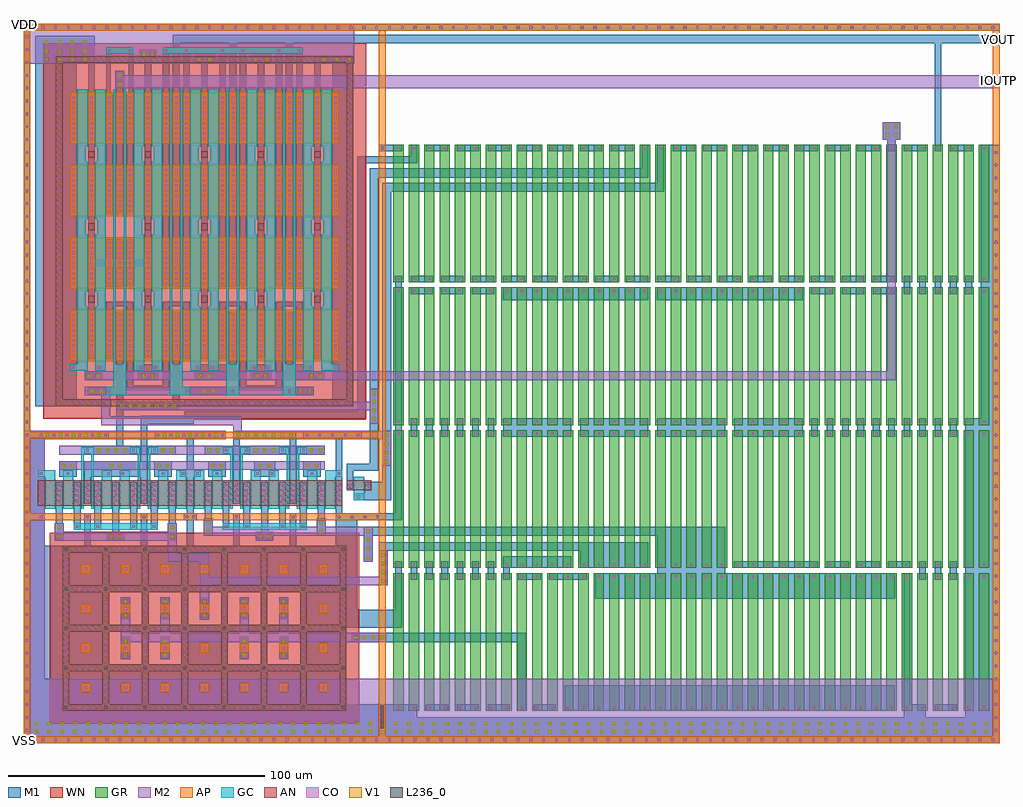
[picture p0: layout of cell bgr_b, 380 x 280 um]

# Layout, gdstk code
from math import pi, radians
import gdstk
lib = gdstk.Library(unit=1e-6, precision=1e-07)
def R(c, l, rs):  # rectangles x0, y0, x1, y1
    for r in rs: c.add(gdstk.rectangle(r[:2], r[2:], *l))
def A(c, l, x, y, w, h, nx, ny, dx, dy):  # array of equal rectangles
    R(c, l, [(x+i*dx, y+j*dy, x+i*dx+w, y+j*dy+h) for i in range(nx) for j in range(ny)])
def P(c, l, *ps):  # polygons
    for p in ps: c.add(gdstk.Polygon(p, *l))
AP = (3, 1)
AN = (3, 2)
GC = (8, 1)
GR = (8, 2)
CO = (11, 0)
M1 = (13, 0)
V1 = (19, 0)
M2 = (20, 0)
WN = (140, 0)
L236_0 = (236, 0)

via_1 = lib.new_cell('via_1')
R(via_1, M1, [(-1.7,-1.7,1.7,1.7)])
R(via_1, V1, [(-0.7,-0.7,0.7,0.7)])
R(via_1, M2, [(-1.7,-1.7,1.7,1.7)])

res_poly = lib.new_cell('res_poly')
R(res_poly, GR, [(-26.8,-2,26.8,2)])
R(res_poly, CO, [(-26,-0.5,-25,0.5), (25,-0.5,26,0.5)])
R(res_poly, M1, [(-26.8,-1.3,-24.2,1.3), (24.2,-1.3,26.8,1.3)])

cont_p_1 = lib.new_cell('cont_p$1')
R(cont_p_1, AP, [(-1.3,-1.3,1.3,1.3)])
R(cont_p_1, CO, [(-0.5,-0.5,0.5,0.5)])
R(cont_p_1, M1, [(-1.3,-1.3,1.3,1.3)])

cont_n_1_1 = lib.new_cell('cont_n$1$1')
R(cont_n_1_1, AN, [(-1.3,-1.3,1.3,1.3)])
R(cont_n_1_1, CO, [(-0.5,-0.5,0.5,0.5)])
R(cont_n_1_1, M1, [(-1.3,-1.3,1.3,1.3)])

fet_p_1 = lib.new_cell('fet_p$1')
R(fet_p_1, AP, [(-4.8,-10,4.8,10)])
A(fet_p_1, CO, -4, -8.5, 1, 1, 1, 9, 0, 2)
A(fet_p_1, CO, 3, -8.5, 1, 1, 1, 9, 0, 2)
R(fet_p_1, M1, [(-4.8,-9.3,-2.2,9.3), (2.2,-9.3,4.8,9.3)])
fet_p_1.add(gdstk.FlexPath([(0,-11.2),(0,11.2)], 4, ends="flush", simple_path=True, layer=8, datatype=1))  # GC

fet_p_3 = lib.new_cell('fet_p$3')
R(fet_p_3, AP, [(-3.3,-10,3.3,10)])
A(fet_p_3, CO, -2.5, -8.5, 1, 1, 1, 9, 0, 2)
A(fet_p_3, CO, 1.5, -8.5, 1, 1, 1, 9, 0, 2)
R(fet_p_3, M1, [(-3.3,-9.3,-0.7,9.3), (0.7,-9.3,3.3,9.3)])
fet_p_3.add(gdstk.FlexPath([(0,-11.2),(0,11.2)], 1, ends="flush", simple_path=True, layer=8, datatype=1))  # GC

cont_g_1 = lib.new_cell('cont_g$1')
R(cont_g_1, GC, [(-1.3,-1.3,1.3,1.3)])
R(cont_g_1, CO, [(-0.5,-0.5,0.5,0.5)])
R(cont_g_1, M1, [(-1.3,-1.3,1.3,1.3)])

fet_n_1 = lib.new_cell('fet_n$1')
R(fet_n_1, AN, [(-4.8,-5,4.8,5)])
A(fet_n_1, CO, -4, -3.5, 1, 1, 1, 4, 0, 2)
A(fet_n_1, CO, 3, -3.5, 1, 1, 1, 4, 0, 2)
R(fet_n_1, M1, [(-4.8,-4.3,-2.2,4.3), (2.2,-4.3,4.8,4.3)])
fet_n_1.add(gdstk.FlexPath([(0,-6.2),(0,6.2)], 4, ends="flush", simple_path=True, layer=8, datatype=1))  # GC

fet_n_3 = lib.new_cell('fet_n$3')
R(fet_n_3, AN, [(-3.3,-5,3.3,5)])
A(fet_n_3, CO, -2.5, -3.5, 1, 1, 1, 4, 0, 2)
A(fet_n_3, CO, 1.5, -3.5, 1, 1, 1, 4, 0, 2)
R(fet_n_3, M1, [(-3.3,-4.3,-0.7,4.3), (0.7,-4.3,3.3,4.3)])
fet_n_3.add(gdstk.FlexPath([(0,-6.2),(0,6.2)], 1, ends="flush", simple_path=True, layer=8, datatype=1))  # GC

cont_n_2 = lib.new_cell('cont_n$2')
R(cont_n_2, AN, [(-1.3,-1.3,1.3,1.3)])
R(cont_n_2, CO, [(-0.5,-0.5,0.5,0.5)])
R(cont_n_2, M1, [(-1.3,-1.3,1.3,1.3)])

diode_p_1 = lib.new_cell('diode_p$1')
R(diode_p_1, AP, [(-1.8,-1.8,1.8,1.8)])
R(diode_p_1, CO, [(-0.6,-0.6,0.6,0.6)])
R(diode_p_1, M1, [(-1.8,-1.8,1.8,1.8)])

dp_1 = lib.new_cell('dp$1')
P(dp_1, AN, [(-9,-9),(-9,-3.9),(-6.4,-3.9),(-6.4,-6.4),(-3.9,-6.4),(-3.9,-9)],
  [(3.9,-9),(3.9,-6.4),(6.4,-6.4),(6.4,-3.9),(9,-3.9),(9,-9)],
  [(-9,3.9),(-9,9),(-3.9,9),(-3.9,6.4),(-6.4,6.4),(-6.4,3.9)],
  [(6.4,3.9),(6.4,6.4),(3.9,6.4),(3.9,9),(9,9),(9,3.9)])
P(dp_1, M1, [(-9,-9),(-9,-3.9),(-6.4,-3.9),(-6.4,-6.4),(-3.9,-6.4),(-3.9,-9)],
  [(3.9,-9),(3.9,-6.4),(6.4,-6.4),(6.4,-3.9),(9,-3.9),(9,-9)],
  [(-9,3.9),(-9,9),(-3.9,9),(-3.9,6.4),(-6.4,6.4),(-6.4,3.9)],
  [(6.4,3.9),(6.4,6.4),(3.9,6.4),(3.9,9),(9,9),(9,3.9)])
R(dp_1, WN, [(-14,-14,14,14)])
r = gdstk.Reference(cont_n_2, (-7.7,-2.6)); r.repetition = gdstk.Repetition(1, 3, v1=(0,0), v2=(0,2.6)); dp_1.add(r)
r = gdstk.Reference(cont_n_2, (7.7,-2.6)); r.repetition = gdstk.Repetition(1, 3, v1=(0,0), v2=(0,2.6)); dp_1.add(r)
r = gdstk.Reference(cont_n_2, (-2.6,-7.7)); r.repetition = gdstk.Repetition(3, 1, v1=(2.6,0), v2=(0,0)); dp_1.add(r)
r = gdstk.Reference(cont_n_2, (-2.6,7.7)); r.repetition = gdstk.Repetition(3, 1, v1=(2.6,0), v2=(0,0)); dp_1.add(r)
dp_1.add(gdstk.Reference(diode_p_1, (0,0)))
dp_1.add(gdstk.Label('PLUS', (0,0), layer=48, texttype=0))
dp_1.add(gdstk.Label('MINUS', (0,-6.7), layer=48, texttype=0))

fet_n_2_1 = lib.new_cell('fet_n$2$1')
R(fet_n_2_1, AN, [(-4.8,-2,4.8,2)])
R(fet_n_2_1, CO, [(-4,-0.5,-3,0.5), (3,-0.5,4,0.5)])
R(fet_n_2_1, M1, [(-4.8,-1.3,-2.2,1.3), (2.2,-1.3,4.8,1.3)])
fet_n_2_1.add(gdstk.FlexPath([(0,-3.2),(0,3.2)], 4, ends="flush", simple_path=True, layer=8, datatype=1))  # GC

bgr_b = lib.new_cell('bgr_b')
P(bgr_b, AP, [(0,0),(0,277.4),(2.6,277.4),(2.6,2.6),(138.4,2.6),(138.4,86.8),(2.6,86.8),(2.6,89.4),(138.4,89.4),(138.4,118.6),(2.6,118.6),(2.6,121.2),(138.4,121.2),(138.4,277.4),(141,277.4),(141,2.6),(377.4,2.6),(377.4,277.4),(0,277.4),(0,280),(380,280),(380,0)])
P(bgr_b, AN, [(12.6,131.2),(12.6,264.8),(15.2,264.8),(15.2,133.8),(125.8,133.8),(125.8,264.8),(12.6,264.8),(12.6,267.4),(128.4,267.4),(128.4,131.2)])
A(bgr_b, GC, 52.4, 103.6, 4, 2.6, 4, 1, 7, 0)
R(bgr_b, GC, [(19.6,83,52.2,85.6), (77.6,83,110.2,85.6), (128.6,94.6,132.6,97.2), (5.6,103.6,12.4,106.2), (15.4,103.6,19.4,106.2), (30.4,103.6,34.4,106.2), (37.4,103.6,41.4,106.2), (88.4,103.6,92.4,106.2), (95.4,103.6,99.4,106.2), (110.4,103.6,114.4,106.2), (117.4,103.6,124.2,106.2), (18.2,144.9,25,147.5), (28,144.9,32,147.5), (43,144.9,47,147.5), (50,144.9,54,147.5), (65,144.9,69,147.5), (72,144.9,76,147.5), (87,144.9,91,147.5), (94,144.9,98,147.5), (109,144.9,113,147.5), (109,144.9,113,147.5), (116,144.9,122.8,147.5), (21,169.9,24.2,232.1), (28.8,169.9,32,232.1), (43,169.9,46.2,232.1), (50.8,169.9,54,232.1), (65,169.9,68.2,232.1), (72.8,169.9,76,232.1), (87,169.9,90.2,232.1), (94.8,169.9,98,232.1), (109,169.9,112.2,232.1), (116.8,169.9,120,232.1), (32.2,268.3,42.8,270.9), (54.2,268.3,108.8,270.9)])
P(bgr_b, GC, [(32,135.4),(32,138.8),(35,138.8),(35,232.1),(36,232.1),(36,147.5),(39,147.5),(39,232.1),(40,232.1),(40,135.4)],
  [(57,135.4),(57,232.1),(58,232.1),(58,147.5),(61,147.5),(61,232.1),(62,232.1),(62,138.8),(65,138.8),(65,135.4)],
  [(79,135.4),(79,232.1),(80,232.1),(80,147.5),(83,147.5),(83,232.1),(84,232.1),(84,135.4)],
  [(101,135.4),(101,232.1),(102,232.1),(102,147.5),(105,147.5),(105,232.1),(106,232.1),(106,135.4)],
  [(22.4,103.6),(22.4,115.3),(27.4,115.3),(27.4,103.6),(26.4,103.6),(26.4,112.7),(23.4,112.7),(23.4,103.6)],
  [(48.4,103.6),(48.4,115.3),(52.3,115.3),(52.3,112.7),(49.4,112.7),(49.4,103.6)],
  [(44.4,103.6),(44.4,112.7),(41.5,112.7),(41.5,115.3),(45.4,115.3),(45.4,103.6)],
  [(84.4,103.6),(84.4,115.3),(88.3,115.3),(88.3,112.7),(85.4,112.7),(85.4,103.6)],
  [(80.4,103.6),(80.4,112.7),(77.5,112.7),(77.5,115.3),(81.4,115.3),(81.4,103.6)],
  [(106.4,103.6),(106.4,115.3),(110.3,115.3),(110.3,112.7),(107.4,112.7),(107.4,103.6)],
  [(102.4,103.6),(102.4,112.7),(99.5,112.7),(99.5,115.3),(103.4,115.3),(103.4,103.6)])
A(bgr_b, M1, 159.3, 12.6, 3.4, 2.6, 3, 1, 12, 0)
A(bgr_b, M1, 37.9, 48, 3.6, 8.8, 5, 1, 15.4, 0)
A(bgr_b, M1, 150.7, 66.2, 2.6, 2, 6, 2, 6, 55.6)
A(bgr_b, M1, 348.7, 66.2, 2.6, 2, 3, 1, 6, 0)
A(bgr_b, M1, 315.3, 68.2, 3.4, 2.6, 3, 1, 12, 0)
A(bgr_b, M1, 12.6, 78.8, 2.6, 14.3, 3, 1, 22, 0)
A(bgr_b, M1, 186.7, 119.2, 26.6, 7.2, 4, 1, 30, 0)
A(bgr_b, M1, 306.7, 121.8, 2.6, 2, 10, 1, 6, 0)
A(bgr_b, M1, 153.3, 174.8, 3.4, 2.6, 3, 1, 12, 0)
A(bgr_b, M1, 309.3, 174.8, 3.4, 2.6, 3, 1, 12, 0)
A(bgr_b, M1, 342.7, 177.4, 2.6, 2, 5, 1, 6, 0)
A(bgr_b, M1, 153.3, 179.4, 3.4, 2.6, 16, 1, 12, 0)
A(bgr_b, M1, 159.3, 230.4, 3.4, 2.6, 7, 1, 12, 0)
A(bgr_b, M1, 255.3, 230.4, 3.4, 2.6, 7, 1, 12, 0)
R(bgr_b, M1, [(201.3,12.6,204.7,15.2), (210.7,12.6,339.3,22.6), (357.3,12.6,360.7,15.2), (37.9,32.6,41.5,41.4), (53.3,32.6,56.9,41.4), (84.1,32.6,87.7,41.4), (99.5,32.6,103.1,41.4), (195.3,63.6,198.7,66.2), (207.3,63.6,216.7,66.2), (279.3,68.2,306.7,70.8), (23.6,76.8,26.2,86.8), (45.6,76.8,48.2,86.8), (63.6,76.8,66.2,121.6), (81.6,76.8,84.2,86.8), (103.6,76.8,106.2,86.8), (92.6,78.8,95.2,93.1), (70.6,80.8,73.2,93.1), (114.6,80.8,117.2,93.1), (19.6,83,22.2,93.1), (27.6,83,30.2,93.1), (41.6,83,44.2,93.1), (49.6,83,52.2,93.1), (77.6,83,80.2,93.1), (85.6,83,88.2,93.1), (99.6,83,102.2,93.1), (107.6,83,110.2,93.1), (14,103.6,20.8,109.8), (51,103.6,57.8,109.8), (63.4,103.6,66.4,106.2), (63.4,103.6,66.4,106.2), (72,103.6,78.8,109.8), (89.8,103.6,98,109.8), (109,103.6,115.8,109.8), (23.6,112.3,44.1,115.7), (36.2,112.3,38.8,149.4), (49.7,112.3,59.3,115.7), (70.5,112.3,80.1,115.7), (85.7,112.3,102.1,115.7), (107.7,112.3,117.3,115.7), (5.6,118.2,33.2,121.6), (51.1,118.2,78.7,121.6), (58.2,129.5,60.8,149.4), (25,135.4,34.6,138.8), (62.4,135.4,82.8,138.8), (102.2,135.4,113,138.8), (28,141.3,30.6,147.5), (44.4,141.3,52.6,147.5), (88.4,141.3,96.6,147.5), (25.2,168,27.8,267.4), (47.2,168,49.8,267.4), (69.2,168,71.8,267.8), (91.2,168,93.8,267.8), (113.2,168,115.8,267.4), (186.7,172.4,243.3,177.4), (246.7,172.4,303.3,177.4), (27.8,185.6,47.2,188.2), (54.2,196.2,56.8,270.9), (62.2,196.2,64.8,270.9), (76.2,196.2,78.8,270.9), (84.2,196.2,86.8,270.9), (98.2,196.2,100.8,270.9), (106.2,196.2,108.8,270.9), (32.2,224.4,34.8,252.6), (36.2,224.4,38.8,261.8), (40.2,224.4,42.8,252.6), (141,230.4,144.7,233), (345.3,230.4,348.7,233), (363.3,230.4,366.7,233), (336.3,233,339.7,238.4)])
P(bgr_b, M1, [(192.3,12.6),(192.3,39.3),(127.7,39.3),(127.7,42.9),(195.7,42.9),(195.7,12.6)],
  [(0,0),(0,58.8),(33.3,58.8),(33.3,30.6),(61.5,30.6),(61.5,46),(79.5,46),(79.5,30.6),(107.7,30.6),(107.7,58.8),(0,58.8),(0,280),(380,280),(380,277.4),(2.6,277.4),(2.6,121.6),(8.2,121.6),(8.2,76.8),(121.6,76.8),(121.6,89.4),(144.7,89.4),(144.7,182),(147.3,182),(147.3,86.8),(130,86.8),(130,52),(144.7,52),(144.7,70.8),(147.3,70.8),(147.3,45),(125.7,45),(125.7,15.2),(153.3,15.2),(153.3,10),(342.7,10),(342.7,63.6),(345.3,63.6),(345.3,15.2),(351.3,15.2),(351.3,10),(366.7,10),(366.7,126.4),(372.7,126.4),(372.7,233),(380,233),(380,0)],
  [(186.7,66.2),(186.7,72.8),(213.3,72.8),(213.3,68.2),(189.3,68.2),(189.3,66.2)],
  [(216.7,68.2),(216.7,74.8),(138.4,74.8),(138.4,78.2),(243.3,78.2),(243.3,68.2)],
  [(222.7,56.2),(222.7,66.2),(246.7,66.2),(246.7,80.8),(132.5,80.8),(132.5,84.2),(273.3,84.2),(273.3,66.2),(339.3,66.2),(339.3,56.2)],
  [(4.6,131.2),(4.6,275.4),(27.8,275.4),(27.8,264.4),(20.8,264.4),(20.8,133.8),(34.2,133.8),(34.2,131.2)],
  [(58.2,196.2),(58.2,275.8),(380,275.8),(380,272.4),(357.3,272.4),(357.3,233),(354.7,233),(354.7,272.4),(104.8,272.4),(104.8,196.2),(102.2,196.2),(102.2,272.4),(82.8,272.4),(82.8,196.2),(80.2,196.2),(80.2,272.4),(60.8,272.4),(60.8,196.2)],
  [(62.8,131.2),(62.8,133.8),(120.2,133.8),(120.2,264.8),(113.2,264.8),(113.2,267.4),(128.4,267.4),(128.4,131.2)],
  [(131.9,94.6),(131.9,97.2),(132.8,97.2),(132.8,101.7),(139.7,101.7),(139.7,218.2),(246.7,218.2),(246.7,230.4),(249.3,230.4),(249.3,214.6),(143.1,214.6),(143.1,94.6)],
  [(40.2,250),(40.2,252.6),(41,252.6),(41,270.9),(42.8,270.9),(42.8,250)],
  [(32.2,250),(32.2,270.9),(34,270.9),(34,252.6),(34.8,252.6),(34.8,250)],
  [(66.4,141.3),(66.4,147.5),(80.2,147.5),(80.2,149.4),(82.8,149.4),(82.8,141.3)],
  [(40.2,137.3),(40.2,170),(34.8,170),(34.8,168),(32.2,168),(32.2,171.8),(42.8,171.8),(42.8,139.3),(54.2,139.3),(54.2,171.8),(64.8,171.8),(64.8,168),(62.2,168),(62.2,170),(56.8,170),(56.8,137.3)],
  [(84.2,137.3),(84.2,170),(78.8,170),(78.8,168),(76.2,168),(76.2,171.8),(86.8,171.8),(86.8,139.3),(98.2,139.3),(98.2,171.8),(108.8,171.8),(108.8,168),(106.2,168),(106.2,170),(100.8,170),(100.8,137.3)],
  [(102.2,141.3),(102.2,149.4),(104.8,149.4),(104.8,147.5),(113,147.5),(113,141.3)],
  [(23.6,101.7),(23.6,109.8),(45.6,109.8),(45.6,127.5),(62.8,127.5),(62.8,129.2),(129.9,129.2),(129.9,228.4),(150.7,228.4),(150.7,230.4),(153.3,230.4),(153.3,225.8),(133.3,225.8),(133.3,125.8),(66.2,125.8),(66.2,124.1),(48.2,124.1),(48.2,101.7),(45.6,101.7),(45.6,103.6),(26.2,103.6),(26.2,101.7)],
  [(81.6,101.7),(81.6,121.6),(106.2,121.6),(106.2,101.7),(103.6,101.7),(103.6,118.2),(84.2,118.2),(84.2,101.7)],
  [(121.6,89.4),(121.6,118.6),(109,118.6),(109,121.2),(131.6,121.2),(131.6,118.6),(124.2,118.6),(124.2,89.4)],
  [(125.8,101.7),(125.8,108.7),(134.8,108.7),(134.8,223.8),(240.7,223.8),(240.7,230.4),(243.3,230.4),(243.3,220.2),(138.2,220.2),(138.2,106.1),(128.4,106.1),(128.4,101.7)])
R(bgr_b, M2, [(37.9,32.6,41.5,41.4), (53.3,32.6,56.9,41.4), (84.1,32.6,87.7,41.4), (37.9,48,41.5,56.8), (53.3,48,56.9,56.8), (84.1,48,87.7,56.8), (99.5,48,103.1,56.8), (73.6,80.8,135.9,84.2), (14,106.4,117.3,109.8), (14,112.3,117.3,115.7), (36.2,129.5,138.2,132.9), (23.8,141.3,339.7,144.7), (336.3,141.3,339.7,238.4), (35.8,255,380,260), (0,264.4,128.7,280)])
P(bgr_b, M2, [(99.5,32.6),(99.5,39.3),(37.9,39.3),(37.9,48),(41.5,48),(41.5,42.9),(53.3,42.9),(53.3,48),(56.9,48),(56.9,42.9),(84.1,42.9),(84.1,48),(87.7,48),(87.7,42.9),(99.5,42.9),(99.5,48),(103.1,48),(103.1,42.9),(141.3,42.9),(141.3,39.3),(103.1,39.3),(103.1,32.6)],
  [(68.7,48),(68.7,70.6),(56.2,70.6),(56.2,78.8),(15.6,78.8),(15.6,82.2),(59.6,82.2),(59.6,74),(72.3,74),(72.3,64.8),(141.8,64.8),(141.8,61.4),(72.3,61.4),(72.3,48)],
  [(0,0),(0,121.6),(78.7,121.6),(78.7,118.2),(8.2,118.2),(8.2,25),(380,25),(380,0)],
  [(81.6,118.2),(81.6,123.8),(30.3,123.8),(30.3,135.4),(23.8,135.4),(23.8,138.8),(113,138.8),(113,135.4),(33.7,135.4),(33.7,127.2),(85,127.2),(85,121.6),(143.1,121.6),(143.1,118.2)])
R(bgr_b, WN, [(7.6,126.2,133.4,272.4)])
A(bgr_b, L236_0, 16, 13.3, 1.2, 1.2, 8, 5, 15.4, 15.4)
R(bgr_b, L236_0, [(139.1,5.8,140.3,14.5)])
r = gdstk.Reference(via_1, (5,4.3)); r.repetition = gdstk.Repetition(75, 2, v1=(5,0), v2=(0,3.4)); bgr_b.add(r)
r = gdstk.Reference(res_poly, (146,206.2), rotation=3*pi/2); r.repetition = gdstk.Repetition(4, 39, v1=(0,-55.6), v2=(6,0)); bgr_b.add(r)
r = gdstk.Reference(cont_p_1, (2.5,1.3)); r.repetition = gdstk.Repetition(76, 1, v1=(5,0), v2=(0,0)); bgr_b.add(r)
r = gdstk.Reference(cont_p_1, (1.3,5)); r.repetition = gdstk.Repetition(1, 55, v1=(0,0), v2=(0,5)); bgr_b.add(r)
r = gdstk.Reference(cont_p_1, (378.7,5)); r.repetition = gdstk.Repetition(1, 46, v1=(0,0), v2=(0,5)); bgr_b.add(r)
r = gdstk.Reference(cont_p_1, (2.5,278.7)); r.repetition = gdstk.Repetition(76, 1, v1=(5,0), v2=(0,0)); bgr_b.add(r)
r = gdstk.Reference(cont_n_1_1, (127.1,135.1)); r.repetition = gdstk.Repetition(1, 26, v1=(0,0), v2=(0,5)); bgr_b.add(r)
r = gdstk.Reference(cont_n_1_1, (13.9,135.1)); r.repetition = gdstk.Repetition(1, 26, v1=(0,0), v2=(0,5)); bgr_b.add(r)
r = gdstk.Reference(via_1, (336.3,236.7)); r.repetition = gdstk.Repetition(2, 2, v1=(3.4,0), v2=(0,3.4)); bgr_b.add(r)
r = gdstk.Reference(via_1, (90.8,143)); r.repetition = gdstk.Repetition(2, 1, v1=(3.4,0), v2=(0,0)); bgr_b.add(r)
bgr_b.add(gdstk.Reference(fet_p_1, (96,243.3)))
bgr_b.add(gdstk.Reference(fet_p_1, (118,215.1)))
r = gdstk.Reference(cont_n_1_1, (26.5,172.8)); r.repetition = gdstk.Repetition(5, 3, v1=(22,0), v2=(0,28.2)); bgr_b.add(r)
bgr_b.add(gdstk.Reference(fet_p_1, (96,158.7)))
bgr_b.add(gdstk.Reference(fet_p_1, (74,215.1)))
bgr_b.add(gdstk.Reference(fet_p_3, (79.5,215.1)))
bgr_b.add(gdstk.Reference(fet_p_3, (83.5,215.1)))
bgr_b.add(gdstk.Reference(fet_p_1, (89,215.1)))
bgr_b.add(gdstk.Reference(fet_p_1, (96,215.1)))
bgr_b.add(gdstk.Reference(fet_p_3, (101.5,215.1)))
bgr_b.add(gdstk.Reference(fet_p_3, (105.5,215.1)))
bgr_b.add(gdstk.Reference(fet_p_1, (111,215.1)))
bgr_b.add(gdstk.Reference(fet_p_1, (96,186.9)))
bgr_b.add(gdstk.Reference(fet_p_1, (67,215.1)))
bgr_b.add(gdstk.Reference(fet_p_3, (61.5,215.1)))
bgr_b.add(gdstk.Reference(fet_p_3, (57.5,215.1)))
bgr_b.add(gdstk.Reference(fet_p_1, (52,215.1)))
bgr_b.add(gdstk.Reference(fet_p_1, (23,215.1)))
bgr_b.add(gdstk.Reference(fet_p_1, (30,215.1)))
bgr_b.add(gdstk.Reference(fet_p_3, (35.5,215.1)))
bgr_b.add(gdstk.Reference(fet_p_3, (39.5,215.1)))
bgr_b.add(gdstk.Reference(fet_p_1, (45,215.1)))
bgr_b.add(gdstk.Reference(cont_g_1, (95.3,146.2)))
r = gdstk.Reference(via_1, (90.3,266.1)); r.repetition = gdstk.Repetition(2, 1, v1=(4.4,0), v2=(0,0)); bgr_b.add(r)
r = gdstk.Reference(cont_n_1_1, (114.5,266.1)); r.repetition = gdstk.Repetition(3, 1, v1=(5,0), v2=(0,0)); bgr_b.add(r)
bgr_b.add(gdstk.Reference(cont_p_1, (139.7,231.7)))
bgr_b.add(gdstk.Reference(fet_p_3, (105.5,243.3)))
bgr_b.add(gdstk.Reference(fet_p_1, (118,243.3)))
r = gdstk.Reference(cont_g_1, (99.5,269.6)); r.repetition = gdstk.Repetition(2, 1, v1=(8,0), v2=(0,0)); bgr_b.add(r)
bgr_b.add(gdstk.Reference(fet_p_1, (111,243.3)))
bgr_b.add(gdstk.Reference(fet_p_3, (101.5,243.3)))
r = gdstk.Reference(via_1, (117,266.1)); r.repetition = gdstk.Repetition(3, 1, v1=(5,0), v2=(0,0)); bgr_b.add(r)
r = gdstk.Reference(cont_g_1, (55.5,269.6)); r.repetition = gdstk.Repetition(2, 1, v1=(8,0), v2=(0,0)); bgr_b.add(r)
r = gdstk.Reference(cont_g_1, (77.5,269.6)); r.repetition = gdstk.Repetition(2, 1, v1=(8,0), v2=(0,0)); bgr_b.add(r)
r = gdstk.Reference(cont_g_1, (33.5,269.6)); r.repetition = gdstk.Repetition(2, 1, v1=(8,0), v2=(0,0)); bgr_b.add(r)
bgr_b.add(gdstk.Reference(fet_p_3, (35.5,243.3)))
bgr_b.add(gdstk.Reference(fet_p_3, (39.5,243.3)))
bgr_b.add(gdstk.Reference(fet_p_1, (45,243.3)))
bgr_b.add(gdstk.Reference(fet_p_1, (74,243.3)))
bgr_b.add(gdstk.Reference(fet_p_3, (79.5,243.3)))
bgr_b.add(gdstk.Reference(fet_p_3, (83.5,243.3)))
r = gdstk.Reference(cont_n_1_1, (70.5,266.1)); r.repetition = gdstk.Repetition(1, 1, v1=(0,0), v2=(0,0)); bgr_b.add(r)
bgr_b.add(gdstk.Reference(fet_p_1, (89,243.3)))
r = gdstk.Reference(cont_n_1_1, (16.5,266.1)); r.repetition = gdstk.Repetition(3, 1, v1=(5,0), v2=(0,0)); bgr_b.add(r)
bgr_b.add(gdstk.Reference(fet_p_1, (67,243.3)))
bgr_b.add(gdstk.Reference(fet_p_3, (61.5,243.3)))
bgr_b.add(gdstk.Reference(fet_p_3, (57.5,243.3)))
bgr_b.add(gdstk.Reference(fet_p_1, (52,243.3)))
bgr_b.add(gdstk.Reference(fet_p_1, (23,243.3)))
bgr_b.add(gdstk.Reference(fet_p_1, (30,243.3)))
r = gdstk.Reference(via_1, (37.5,256.7)); r.repetition = gdstk.Repetition(1, 2, v1=(0,0), v2=(0,3.4)); bgr_b.add(r)
r = gdstk.Reference(via_1, (46.8,268.3)); r.repetition = gdstk.Repetition(2, 1, v1=(3.4,0), v2=(0,0)); bgr_b.add(r)
r = gdstk.Reference(via_1, (68.3,266.1)); r.repetition = gdstk.Repetition(2, 1, v1=(4.4,0), v2=(0,0)); bgr_b.add(r)
r = gdstk.Reference(cont_n_1_1, (48.5,266.1)); r.repetition = gdstk.Repetition(1, 1, v1=(0,0), v2=(0,0)); bgr_b.add(r)
r = gdstk.Reference(cont_n_1_1, (92.5,266.1)); r.repetition = gdstk.Repetition(1, 1, v1=(0,0), v2=(0,0)); bgr_b.add(r)
r = gdstk.Reference(via_1, (9,266.1)); r.repetition = gdstk.Repetition(4, 3, v1=(5,0), v2=(0,3.4)); bgr_b.add(r)
bgr_b.add(gdstk.Reference(fet_p_3, (79.5,158.7)))
bgr_b.add(gdstk.Reference(fet_p_1, (30,158.7)))
bgr_b.add(gdstk.Reference(fet_p_3, (35.5,158.7)))
bgr_b.add(gdstk.Reference(fet_p_3, (39.5,158.7)))
bgr_b.add(gdstk.Reference(fet_p_1, (45,158.7)))
bgr_b.add(gdstk.Reference(fet_p_1, (52,186.9)))
bgr_b.add(gdstk.Reference(fet_p_1, (74,158.7)))
bgr_b.add(gdstk.Reference(fet_p_1, (67,186.9)))
bgr_b.add(gdstk.Reference(fet_p_3, (83.5,158.7)))
bgr_b.add(gdstk.Reference(fet_p_1, (23,186.9)))
bgr_b.add(gdstk.Reference(fet_p_3, (61.5,186.9)))
bgr_b.add(gdstk.Reference(fet_p_3, (57.5,186.9)))
bgr_b.add(gdstk.Reference(fet_p_1, (89,158.7)))
bgr_b.add(gdstk.Reference(fet_p_1, (30,186.9)))
bgr_b.add(gdstk.Reference(fet_p_1, (67,158.7)))
bgr_b.add(gdstk.Reference(fet_p_3, (61.5,158.7)))
bgr_b.add(gdstk.Reference(fet_p_3, (57.5,158.7)))
bgr_b.add(gdstk.Reference(fet_p_1, (52,158.7)))
bgr_b.add(gdstk.Reference(fet_p_3, (35.5,186.9)))
bgr_b.add(gdstk.Reference(fet_p_1, (74,186.9)))
bgr_b.add(gdstk.Reference(fet_p_3, (79.5,186.9)))
bgr_b.add(gdstk.Reference(fet_p_3, (39.5,186.9)))
bgr_b.add(gdstk.Reference(cont_g_1, (29.3,146.2)))
bgr_b.add(gdstk.Reference(cont_g_1, (67.7,146.2)))
bgr_b.add(gdstk.Reference(cont_g_1, (51.3,146.2)))
bgr_b.add(gdstk.Reference(cont_g_1, (45.7,146.2)))
r = gdstk.Reference(via_1, (46.8,143)); r.repetition = gdstk.Repetition(2, 1, v1=(3.4,0), v2=(0,0)); bgr_b.add(r)
bgr_b.add(gdstk.Reference(cont_g_1, (89.7,146.2)))
bgr_b.add(gdstk.Reference(cont_g_1, (19.5,146.2)))
bgr_b.add(gdstk.Reference(cont_g_1, (73.3,146.2)))
bgr_b.add(gdstk.Reference(fet_p_3, (83.5,186.9)))
bgr_b.add(gdstk.Reference(fet_p_1, (89,186.9)))
bgr_b.add(gdstk.Reference(fet_p_1, (45,186.9)))
bgr_b.add(gdstk.Reference(fet_p_1, (23,158.7)))
r = gdstk.Reference(via_1, (68.8,143)); r.repetition = gdstk.Repetition(2, 1, v1=(3.4,0), v2=(0,0)); bgr_b.add(r)
r = gdstk.Reference(via_1, (25.5,143)); r.repetition = gdstk.Repetition(2, 1, v1=(3.4,0), v2=(0,0)); bgr_b.add(r)
bgr_b.add(gdstk.Reference(cont_g_1, (111.7,146.2)))
bgr_b.add(gdstk.Reference(fet_p_1, (118,186.9)))
bgr_b.add(gdstk.Reference(fet_p_3, (101.5,186.9)))
bgr_b.add(gdstk.Reference(fet_p_1, (111,186.9)))
bgr_b.add(gdstk.Reference(fet_p_3, (105.5,186.9)))
bgr_b.add(gdstk.Reference(fet_p_3, (105.5,158.7)))
bgr_b.add(gdstk.Reference(cont_g_1, (121.5,146.2)))
r = gdstk.Reference(via_1, (112.1,143)); r.repetition = gdstk.Repetition(2, 1, v1=(3.4,0), v2=(0,0)); bgr_b.add(r)
bgr_b.add(gdstk.Reference(fet_p_1, (111,158.7)))
bgr_b.add(gdstk.Reference(fet_p_1, (118,158.7)))
bgr_b.add(gdstk.Reference(fet_p_3, (101.5,158.7)))
r = gdstk.Reference(via_1, (129.4,41.1)); r.repetition = gdstk.Repetition(4, 1, v1=(3.4,0), v2=(0,0)); bgr_b.add(r)
r = gdstk.Reference(via_1, (136.5,126.1)); r.repetition = gdstk.Repetition(1, 4, v1=(0,0), v2=(0,3.4)); bgr_b.add(r)
bgr_b.add(gdstk.Reference(cont_g_1, (109,114)))
bgr_b.add(gdstk.Reference(cont_g_1, (103.5,137.1)))
r = gdstk.Reference(cont_g_1, (20.9,84.3)); r.repetition = gdstk.Repetition(2, 1, v1=(8,0), v2=(0,0)); bgr_b.add(r)
r = gdstk.Reference(cont_n_1_1, (64.1,132.5)); r.repetition = gdstk.Repetition(13, 1, v1=(5,0), v2=(0,0)); bgr_b.add(r)
r = gdstk.Reference(cont_g_1, (78.9,84.3)); r.repetition = gdstk.Repetition(2, 1, v1=(8,0), v2=(0,0)); bgr_b.add(r)
r = gdstk.Reference(via_1, (107.9,137.1)); r.repetition = gdstk.Repetition(2, 1, v1=(3.4,0), v2=(0,0)); bgr_b.add(r)
bgr_b.add(gdstk.Reference(cont_g_1, (51,114)))
bgr_b.add(gdstk.Reference(cont_g_1, (78.8,114)))
bgr_b.add(gdstk.Reference(cont_g_1, (87,114)))
bgr_b.add(gdstk.Reference(cont_g_1, (63.7,137.1)))
r = gdstk.Reference(via_1, (141.4,109.7)); r.repetition = gdstk.Repetition(1, 4, v1=(0,0), v2=(0,3.4)); bgr_b.add(r)
bgr_b.add(gdstk.Reference(cont_g_1, (81.5,137.1)))
r = gdstk.Reference(via_1, (70.3,137.1)); r.repetition = gdstk.Repetition(2, 1, v1=(3.4,0), v2=(0,0)); bgr_b.add(r)
r = gdstk.Reference(cont_g_1, (42.9,84.3)); r.repetition = gdstk.Repetition(2, 1, v1=(8,0), v2=(0,0)); bgr_b.add(r)
bgr_b.add(gdstk.Reference(cont_g_1, (130.6,95.9)))
bgr_b.add(gdstk.Reference(fet_n_1, (112.4,97.4)))
r = gdstk.Reference(cont_p_1, (122.9,88.1)); r.repetition = gdstk.Repetition(4, 1, v1=(5,0), v2=(0,0)); bgr_b.add(r)
bgr_b.add(gdstk.Reference(cont_g_1, (33.1,104.9)))
bgr_b.add(gdstk.Reference(fet_n_1, (32.4,97.4)))
r = gdstk.Reference(via_1, (34.2,108.1)); r.repetition = gdstk.Repetition(2, 1, v1=(3.4,0), v2=(0,0)); bgr_b.add(r)
bgr_b.add(gdstk.Reference(fet_n_3, (22.9,97.4)))
bgr_b.add(gdstk.Reference(fet_n_1, (17.4,97.4)))
bgr_b.add(gdstk.Reference(cont_p_1, (24.9,88.1)))
bgr_b.add(gdstk.Reference(cont_p_1, (6.9,88.1)))
r = gdstk.Reference(via_1, (52.7,108.1)); r.repetition = gdstk.Repetition(2, 1, v1=(3.4,0), v2=(0,0)); bgr_b.add(r)
r = gdstk.Reference(via_1, (73.7,108.1)); r.repetition = gdstk.Repetition(2, 1, v1=(3.4,0), v2=(0,0)); bgr_b.add(r)
bgr_b.add(gdstk.Reference(fet_n_3, (26.9,97.4)))
bgr_b.add(gdstk.Reference(cont_g_1, (17.4,104.9)))
r = gdstk.Reference(via_1, (85.9,34.3)); r.repetition = gdstk.Repetition(1, 2, v1=(0,0), v2=(0,5.4)); bgr_b.add(r)
r = gdstk.Reference(via_1, (101.3,34.3)); r.repetition = gdstk.Repetition(1, 2, v1=(0,0), v2=(0,5.4)); bgr_b.add(r)
r = gdstk.Reference(via_1, (85.9,49.7)); r.repetition = gdstk.Repetition(1, 2, v1=(0,0), v2=(0,5.4)); bgr_b.add(r)
r = gdstk.Reference(via_1, (101.3,49.7)); r.repetition = gdstk.Repetition(1, 2, v1=(0,0), v2=(0,5.4)); bgr_b.add(r)
r = gdstk.Reference(via_1, (39.7,34.3)); r.repetition = gdstk.Repetition(1, 2, v1=(0,0), v2=(0,5.4)); bgr_b.add(r)
r = gdstk.Reference(via_1, (55.1,34.3)); r.repetition = gdstk.Repetition(1, 2, v1=(0,0), v2=(0,5.4)); bgr_b.add(r)
r = gdstk.Reference(via_1, (39.7,49.7)); r.repetition = gdstk.Repetition(1, 2, v1=(0,0), v2=(0,5.4)); bgr_b.add(r)
r = gdstk.Reference(via_1, (55.1,49.7)); r.repetition = gdstk.Repetition(1, 2, v1=(0,0), v2=(0,5.4)); bgr_b.add(r)
r = gdstk.Reference(via_1, (70.5,49.7)); r.repetition = gdstk.Repetition(1, 2, v1=(0,0), v2=(0,5.4)); bgr_b.add(r)
bgr_b.add(gdstk.Reference(cont_g_1, (6.9,104.9)))
r = gdstk.Reference(via_1, (15.7,108.1)); r.repetition = gdstk.Repetition(2, 1, v1=(3.4,0), v2=(0,0)); bgr_b.add(r)
bgr_b.add(gdstk.Reference(fet_n_1, (10.4,97.4)))
r = gdstk.Reference(cont_p_1, (63.6,88.1)); r.repetition = gdstk.Repetition(2, 1, v1=(2.6,0), v2=(0,0)); bgr_b.add(r)
bgr_b.add(gdstk.Reference(cont_g_1, (96.7,104.9)))
r = gdstk.Reference(via_1, (110.7,108.1)); r.repetition = gdstk.Repetition(2, 1, v1=(3.4,0), v2=(0,0)); bgr_b.add(r)
bgr_b.add(gdstk.Reference(cont_g_1, (38.7,104.9)))
bgr_b.add(gdstk.Reference(cont_g_1, (75.4,104.9)))
bgr_b.add(gdstk.Reference(fet_n_1, (97.4,97.4)))
bgr_b.add(gdstk.Reference(fet_n_1, (68.4,97.4)))
r = gdstk.Reference(via_1, (92.2,108.1)); r.repetition = gdstk.Repetition(2, 1, v1=(3.4,0), v2=(0,0)); bgr_b.add(r)
bgr_b.add(gdstk.Reference(fet_n_1, (39.4,97.4)))
r = gdstk.Reference(via_1, (29.3,114)); r.repetition = gdstk.Repetition(4, 1, v1=(3.4,0), v2=(0,0)); bgr_b.add(r)
r = gdstk.Reference(via_1, (54.2,114)); r.repetition = gdstk.Repetition(2, 1, v1=(3.4,0), v2=(0,0)); bgr_b.add(r)
bgr_b.add(gdstk.Reference(cont_g_1, (54.4,104.9)))
bgr_b.add(gdstk.Reference(cont_g_1, (62.1,104.9)))
bgr_b.add(gdstk.Reference(fet_n_3, (48.9,97.4)))
bgr_b.add(gdstk.Reference(cont_g_1, (91.1,104.9)))
bgr_b.add(gdstk.Reference(fet_n_1, (54.4,97.4)))
bgr_b.add(gdstk.Reference(fet_n_1, (75.4,97.4)))
bgr_b.add(gdstk.Reference(fet_n_3, (80.9,97.4)))
bgr_b.add(gdstk.Reference(cont_p_1, (82.9,88.1)))
r = gdstk.Reference(via_1, (72.2,114)); r.repetition = gdstk.Repetition(2, 1, v1=(3.4,0), v2=(0,0)); bgr_b.add(r)
bgr_b.add(gdstk.Reference(cont_p_1, (46.9,88.1)))
bgr_b.add(gdstk.Reference(cont_p_1, (104.9,88.1)))
bgr_b.add(gdstk.Reference(fet_n_3, (84.9,97.4)))
bgr_b.add(gdstk.Reference(fet_n_1, (90.4,97.4)))
bgr_b.add(gdstk.Reference(fet_n_3, (102.9,97.4)))
r = gdstk.Reference(via_1, (112.2,114)); r.repetition = gdstk.Repetition(2, 1, v1=(3.4,0), v2=(0,0)); bgr_b.add(r)
r = gdstk.Reference(via_1, (90.5,114)); r.repetition = gdstk.Repetition(3, 1, v1=(3.4,0), v2=(0,0)); bgr_b.add(r)
bgr_b.add(gdstk.Reference(cont_g_1, (67.7,104.9)))
bgr_b.add(gdstk.Reference(fet_n_1, (61.4,97.4)))
bgr_b.add(gdstk.Reference(fet_n_3, (44.9,97.4)))
r = gdstk.Reference(dp_1, (24.3,21.6)); r.repetition = gdstk.Repetition(7, 4, v1=(15.4,0), v2=(0,15.4)); bgr_b.add(r)
r = gdstk.Reference(via_1, (83.7,119.9)); r.repetition = gdstk.Repetition(7, 1, v1=(3.4,0), v2=(0,0)); bgr_b.add(r)
r = gdstk.Reference(cont_p_1, (52.4,119.9)); r.repetition = gdstk.Repetition(6, 1, v1=(5,0), v2=(0,0)); bgr_b.add(r)
r = gdstk.Reference(via_1, (92.2,80.5)); r.repetition = gdstk.Repetition(2, 1, v1=(3.4,0), v2=(0,0)); bgr_b.add(r)
r = gdstk.Reference(via_1, (57.9,80.5)); r.repetition = gdstk.Repetition(1, 2, v1=(0,0), v2=(0,3.4)); bgr_b.add(r)
r = gdstk.Reference(via_1, (71.9,82.5)); r.repetition = gdstk.Repetition(1, 2, v1=(0,0), v2=(0,3.4)); bgr_b.add(r)
r = gdstk.Reference(via_1, (34.2,80.5)); r.repetition = gdstk.Repetition(2, 1, v1=(3.4,0), v2=(0,0)); bgr_b.add(r)
r = gdstk.Reference(cont_n_1_1, (17.9,132.5)); r.repetition = gdstk.Repetition(4, 1, v1=(5,0), v2=(0,0)); bgr_b.add(r)
r = gdstk.Reference(via_1, (13.9,80.5)); r.repetition = gdstk.Repetition(1, 2, v1=(0,0), v2=(0,3.4)); bgr_b.add(r)
r = gdstk.Reference(via_1, (115.9,82.5)); r.repetition = gdstk.Repetition(1, 2, v1=(0,0), v2=(0,3.4)); bgr_b.add(r)
bgr_b.add(gdstk.Reference(fet_n_3, (106.9,97.4)))
bgr_b.add(gdstk.Reference(fet_n_1, (119.4,97.4)))
r = gdstk.Reference(via_1, (54.9,119.9)); r.repetition = gdstk.Repetition(5, 1, v1=(5,0), v2=(0,0)); bgr_b.add(r)
bgr_b.add(gdstk.Reference(cont_g_1, (112.4,104.9)))
r = gdstk.Reference(cont_p_1, (110.3,119.9)); r.repetition = gdstk.Repetition(5, 1, v1=(5,0), v2=(0,0)); bgr_b.add(r)
r = gdstk.Reference(via_1, (140.1,63.1)); r.repetition = gdstk.Repetition(1, 4, v1=(0,0), v2=(0,3.4)); bgr_b.add(r)
r = gdstk.Reference(cont_p_1, (6.9,119.9)); r.repetition = gdstk.Repetition(6, 1, v1=(5,0), v2=(0,0)); bgr_b.add(r)
r = gdstk.Reference(via_1, (9.4,119.9)); r.repetition = gdstk.Repetition(5, 1, v1=(5,0), v2=(0,0)); bgr_b.add(r)
r = gdstk.Reference(via_1, (38.3,131.2)); r.repetition = gdstk.Repetition(7, 1, v1=(3.4,0), v2=(0,0)); bgr_b.add(r)
bgr_b.add(gdstk.Reference(cont_g_1, (100.8,114)))
r = gdstk.Reference(cont_g_1, (100.9,84.3)); r.repetition = gdstk.Repetition(2, 1, v1=(8,0), v2=(0,0)); bgr_b.add(r)
bgr_b.add(gdstk.Reference(cont_g_1, (24.9,114)))
bgr_b.add(gdstk.Reference(cont_g_1, (122.9,104.9)))
bgr_b.add(gdstk.Reference(cont_g_1, (33.3,137.1)))
bgr_b.add(gdstk.Reference(fet_n_2_1, (130.6,100.4)))
bgr_b.add(gdstk.Reference(cont_g_1, (42.8,114)))
r = gdstk.Reference(via_1, (26.7,137.1)); r.repetition = gdstk.Repetition(2, 1, v1=(3.4,0), v2=(0,0)); bgr_b.add(r)
r = gdstk.Reference(via_1, (134.2,72.3)); r.repetition = gdstk.Repetition(1, 4, v1=(0,0), v2=(0,3.4)); bgr_b.add(r)
bgr_b.add(gdstk.Label('VOUT', (379.5,274.1), layer=48, texttype=0))
bgr_b.add(gdstk.Label('VDD', (0.2,279.8), layer=49, texttype=0))
bgr_b.add(gdstk.Label('IOUTP', (379.5,257.8), layer=49, texttype=0))
bgr_b.add(gdstk.Label('VSS', (0.2,1), layer=49, texttype=0))

lib.write_gds('bgr_b.gds')
